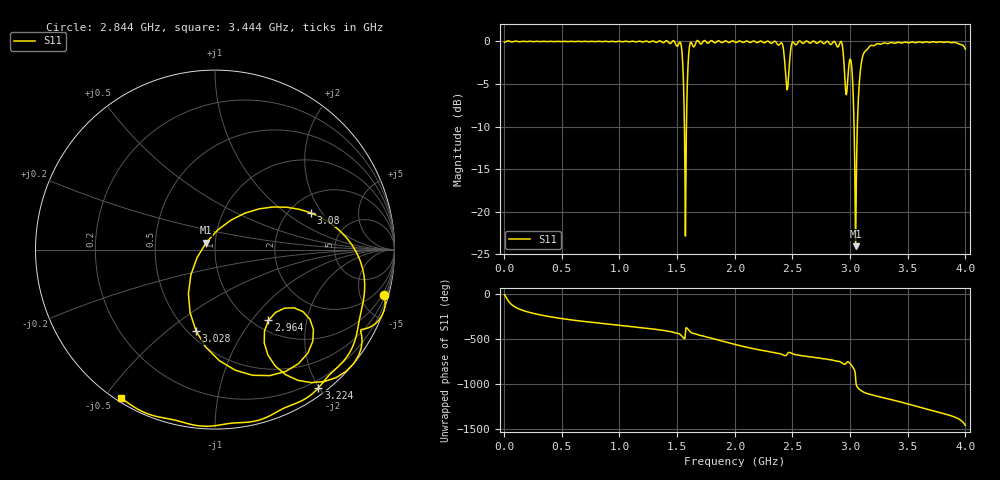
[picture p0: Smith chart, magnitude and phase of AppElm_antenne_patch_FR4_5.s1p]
! TOUCHSTONE file generated by CST MICROWAVE STUDIO
! Date and time: Tue Jun  7 22:11:16 2022
! Project name: AppElm_antenne_patch_FR4.cst
! Parameters = {L=45; W=58.5; e=0.035; h=1.6; lambda=0.190476; ls=120; w0=1.6; w1=0.5064; ws=120; y0=20; y1=23.81}
! Header version: 2018
! Port assignment regex: !\s*Touchstone port\s*([0-9]+)\s*=\s*(CST MWS port|CST DS port)\s*([0-9]+|Zmin|Zmax)\s*\(\"(.*)\"\)(\s*mode\s*([0-9]+))?.*
! Touchstone port assignment:
! Touchstone port 1 = CST MWS port 1 ("")
# GHz S MA R 50
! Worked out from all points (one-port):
!   1000 points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, 4 MHz to 4 GHz, reference 50 ohm
!   lowest |S11| = -24.0 dB at 3.048 GHz (marker M1), VSWR 1.13, Z = 45.2 + j3.59 ohm
!   |S11| at or under -10 dB: 1.563 GHz to 1.581 GHz (17.62 MHz wide, 1.12 % of centre); 3.035 GHz to 3.063 GHz (28.43 MHz wide, 0.933 % of centre)
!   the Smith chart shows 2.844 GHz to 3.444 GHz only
!   S11 on the Smith chart (normalised r, x): 2.844 GHz: 0.80, -7.56; 2.964 GHz: 1.17, -1.22; 3.028 GHz: 0.55, -0.64; 3.08 GHz: 2.59, +1.58; 3.224 GHz: 0.10, -1.99; 3.444 GHz: 0.01, -0.55
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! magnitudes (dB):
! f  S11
! 4 MHz  -0.1
! 504 MHz  0.0
! 1.004 GHz  0.0
! 1.504 GHz  -0.5
! 1.536 GHz  -0.5
! 1.556 GHz  -5.2
! 1.572 GHz  -22.9
! 1.588 GHz  -5.3
! 1.604 GHz  -1.0
! 1.62 GHz  -0.1
! 2.004 GHz  -0.1
! 2.4 GHz  -0.2
! 2.452 GHz  -5.6
! 2.504 GHz  -0.1
! 2.844 GHz  -0.2
! 2.924 GHz  0.0
! 2.964 GHz  -6.1
! 3.004 GHz  -2.1
! 3.016 GHz  -3.3
! 3.028 GHz  -6.6
! 3.048 GHz  -24.0
! 3.064 GHz  -9.5
! 3.08 GHz  -4.9
! 3.12 GHz  -1.3
! 3.224 GHz  -0.3
! 3.444 GHz  -0.2
! 3.504 GHz  -0.2
! 4 GHz  -0.9
